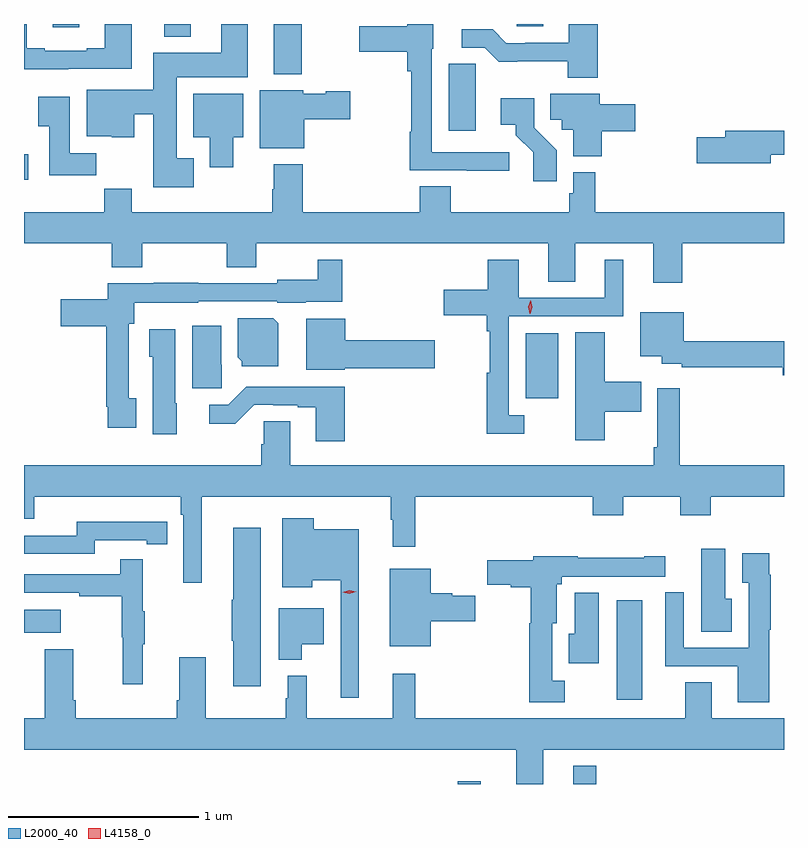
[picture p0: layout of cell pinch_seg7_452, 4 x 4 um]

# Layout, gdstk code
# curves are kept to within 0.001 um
import gdstk
lib = gdstk.Library(unit=1e-6, precision=1e-09)
def R(c, l, rs):  # rectangles x0, y0, x1, y1
    for r in rs: c.add(gdstk.rectangle(r[:2], r[2:], *l))
def P(c, l, *ps):  # polygons
    for p in ps: c.add(gdstk.Polygon(p, *l))
L2000_40 = (2000, 40)
L4158_0 = (4158, 0)

pinch_seg7_452 = lib.new_cell('pinch_seg7_452')
R(pinch_seg7_452, L2000_40, [(313.262,1056.379,313.384,1056.394), (313.871,1056.379,313.991,1056.475), (314.099,1056.822,314.233,1057.345), (310.979,1057.175,311.173,1057.297), (313.619,1058.408,313.792,1058.752), (310.979,1059.56,311.002,1059.694), (312.293,1060.115,312.441,1060.379), (311.717,1060.313,311.857,1060.379), (311.129,1060.362,311.269,1060.379), (313.572,1060.366,313.711,1060.379)])
P(pinch_seg7_452, L2000_40, [(314,1060.379),(313.847,1060.379),(313.847,1060.281),(313.618,1060.281),(313.618,1060.278),(313.518,1060.278),(313.445,1060.351),(313.284,1060.351),(313.284,1060.254),(313.404,1060.254),(313.477,1060.181),(313.84,1060.182),(313.84,1060.097),(314,1060.097)],
  [(313.534,1059.705),(313.125,1059.705),(313.125,1060.248),(313.132,1060.248),(313.132,1060.379),(312.996,1060.379),(312.996,1060.366),(312.744,1060.366),(312.744,1060.232),(312.996,1060.232),(312.996,1060.13),(313.017,1060.13),(313.017,1059.812),(313.009,1059.812),(313.009,1059.609),(313.309,1059.609),(313.309,1059.607),(313.534,1059.607)],
  [(311.872,1059.673),(311.782,1059.673),(311.782,1060.1),(312.157,1060.1),(312.157,1060.379),(312.017,1060.379),(312.017,1060.228),(311.66,1060.228),(311.66,1060.033),(311.309,1060.033),(311.309,1059.788),(311.442,1059.788),(311.442,1059.782),(311.56,1059.782),(311.56,1059.904),(311.66,1059.904),(311.66,1059.521),(311.872,1059.521)],
  [(311.213,1060.143),(311.545,1060.143),(311.545,1060.379),(311.405,1060.379),(311.405,1060.252),(311.309,1060.252),(311.309,1060.239),(311.089,1060.239),(311.089,1060.252),(310.993,1060.252),(310.993,1060.379),(310.979,1060.379),(310.979,1060.142),(311.213,1060.142)],
  [(313.357,1060.058),(313.356,1060.058),(313.356,1060.169),(313.214,1060.169),(313.214,1059.816),(313.357,1059.816)],
  [(312.454,1059.878),(312.697,1059.878),(312.697,1060.025),(312.567,1060.025),(312.567,1060.012),(312.45,1060.012),(312.45,1060.03),(312.221,1060.03),(312.221,1059.725),(312.454,1059.725)],
  [(312.079,1059.782),(312.133,1059.782),(312.133,1060.012),(311.87,1060.012),(311.87,1059.782),(311.957,1059.782),(311.957,1059.624),(312.079,1059.624)],
  [(314.021,1059.814),(314.197,1059.814),(314.197,1059.956),(314.008,1059.956),(314.008,1060.012),(313.75,1060.012),(313.75,1059.874),(313.809,1059.874),(313.809,1059.822),(313.871,1059.822),(313.871,1059.683),(314.021,1059.683)],
  [(311.36,1059.7),(311.221,1059.7),(311.221,1059.997),(311.054,1059.997),(311.054,1059.841),(311.111,1059.841),(311.111,1059.582),(311.36,1059.582)],
  [(313.784,1059.714),(313.665,1059.833),(313.665,1059.988),(313.488,1059.988),(313.488,1059.848),(313.568,1059.848),(313.568,1059.793),(313.659,1059.703),(313.659,1059.552),(313.784,1059.552)],
  [(314.908,1059.69),(314.979,1059.69),(314.979,1059.818),(314.669,1059.818),(314.669,1059.782),(314.52,1059.782),(314.52,1059.647),(314.908,1059.647)],
  [(314.444,1059.224),(314.979,1059.224),(314.979,1059.388),(313.985,1059.388),(313.985,1059.598),(313.869,1059.598),(313.869,1059.489),(313.849,1059.489),(313.849,1059.388),(313.226,1059.388),(313.226,1059.524),(313.061,1059.524),(313.061,1059.388),(312.446,1059.388),(312.446,1059.64),(312.293,1059.64),(312.293,1059.509),(312.286,1059.509),(312.286,1059.388),(311.545,1059.388),(311.545,1059.512),(311.401,1059.512),(311.401,1059.388),(310.979,1059.388),(310.979,1059.224),(311.441,1059.224),(311.441,1059.1),(311.601,1059.1),(311.601,1059.224),(312.046,1059.224),(312.046,1059.1),(312.201,1059.1),(312.201,1059.224),(313.739,1059.224),(313.739,1059.022),(313.879,1059.022),(313.879,1059.224),(314.291,1059.224),(314.291,1059.018),(314.444,1059.018)],
  [(311.569,1058.409),(311.529,1058.409),(311.529,1058.801),(311.56,1058.801),(311.56,1058.912),(311.895,1058.912),(311.895,1058.919),(312.312,1058.919),(312.312,1058.912),(312.462,1058.912),(312.462,1058.918),(312.653,1058.918),(312.653,1059.139),(312.525,1059.139),(312.525,1059.034),(312.312,1059.034),(312.312,1059.015),(311.895,1059.015),(311.895,1059.017),(311.663,1059.017),(311.663,1059.015),(311.42,1059.015),(311.42,1058.931),(311.172,1058.931),(311.172,1058.789),(311.413,1058.789),(311.413,1058.365),(311.421,1058.365),(311.421,1058.253),(311.569,1058.253)],
  [(313.612,1058.319),(313.53,1058.319),(313.53,1058.841),(314.134,1058.841),(314.134,1059.139),(314.036,1059.139),(314.036,1058.937),(313.582,1058.937),(313.582,1059.139),(313.421,1059.139),(313.421,1058.98),(313.188,1058.98),(313.188,1058.846),(313.414,1058.846),(313.414,1058.762),(313.429,1058.762),(313.429,1058.544),(313.414,1058.544),(313.414,1058.222),(313.612,1058.222)],
  [(314.979,1058.708),(314.452,1058.708),(314.452,1058.863),(314.222,1058.863),(314.222,1058.63),(314.336,1058.63),(314.336,1058.591),(314.44,1058.591),(314.44,1058.572),(314.972,1058.572),(314.972,1058.53),(314.979,1058.53)],
  [(312.316,1058.804),(312.29,1058.83),(312.104,1058.83),(312.104,1058.626),(312.126,1058.604),(312.126,1058.579),(312.316,1058.579)],
  [(312.666,1058.567),(313.141,1058.567),(313.141,1058.714),(312.67,1058.714),(312.67,1058.828),(312.464,1058.828),(312.464,1058.558),(312.666,1058.558)],
  [(312.02,1058.586),(312.016,1058.586),(312.016,1058.791),(311.864,1058.791),(311.864,1058.463),(312.02,1058.463)],
  [(311.782,1058.382),(311.776,1058.382),(311.776,1058.773),(311.639,1058.773),(311.639,1058.628),(311.657,1058.628),(311.657,1058.22),(311.782,1058.22)],
  [(314.035,1058.339),(314.228,1058.339),(314.228,1058.497),(314.035,1058.497),(314.035,1058.756),(313.88,1058.756),(313.88,1058.187),(314.035,1058.187)],
  [(312.668,1058.47),(312.148,1058.47),(312.054,1058.376),(311.955,1058.376),(311.955,1058.274),(312.09,1058.274),(312.192,1058.376),(312.292,1058.376),(312.292,1058.373),(312.419,1058.373),(312.419,1058.361),(312.515,1058.361),(312.515,1058.184),(312.668,1058.184)],
  [(311.914,1057.892),(312.909,1057.892),(312.909,1057.769),(312.92,1057.769),(312.92,1057.629),(313.037,1057.629),(313.037,1057.892),(313.973,1057.892),(313.973,1057.793),(314.133,1057.793),(314.133,1057.892),(314.434,1057.892),(314.434,1057.793),(314.594,1057.793),(314.594,1057.892),(314.979,1057.892),(314.979,1058.056),(314.429,1058.056),(314.429,1058.461),(314.313,1058.461),(314.313,1058.152),(314.293,1058.152),(314.293,1058.056),(312.379,1058.056),(312.379,1058.288),(312.24,1058.288),(312.24,1058.166),(312.227,1058.166),(312.227,1058.056),(310.979,1058.056),(310.979,1057.775),(311.032,1057.775),(311.032,1057.892),(311.804,1057.892),(311.804,1057.796),(311.817,1057.796),(311.817,1057.437),(311.914,1057.437)],
  [(312.742,1057.72),(312.504,1057.72),(312.504,1057.777),(312.338,1057.777),(312.338,1057.415),(312.496,1057.415),(312.496,1057.451),(312.645,1057.451),(312.645,1056.834),(312.742,1056.834)],
  [(311.352,1057.662),(311.624,1057.662),(311.624,1057.642),(311.732,1057.642),(311.732,1057.758),(311.624,1057.758),(311.624,1057.759),(311.256,1057.759),(311.256,1057.686),(310.979,1057.686),(310.979,1057.59),(311.352,1057.59)],
  [(312.226,1057.729),(312.08,1057.729),(312.08,1057.349),(312.073,1057.349),(312.073,1057.132),(312.08,1057.132),(312.08,1056.894),(312.226,1056.894)],
  [(314.704,1057.354),(314.671,1057.354),(314.671,1057.618),(314.543,1057.618),(314.543,1057.18),(314.704,1057.18)],
  [(314.902,1057.192),(314.909,1057.192),(314.909,1057.481),(314.902,1057.481),(314.902,1057.594),(314.759,1057.594),(314.759,1057.438),(314.793,1057.438),(314.793,1057.095),(314.451,1057.095),(314.451,1057.389),(314.355,1057.389),(314.355,1056.999),(314.735,1056.999),(314.735,1056.81),(314.902,1056.81)],
  [(313.825,1056.922),(313.759,1056.922),(313.759,1057.224),(313.783,1057.224),(313.783,1057.431),(313.81,1057.431),(313.81,1057.47),(314.355,1057.47),(314.355,1057.579),(314.243,1057.579),(314.243,1057.569),(313.894,1057.569),(313.894,1057.579),(313.659,1057.579),(313.659,1057.557),(313.417,1057.557),(313.417,1057.427),(313.541,1057.427),(313.541,1057.415),(313.645,1057.415),(313.645,1057.224),(313.638,1057.224),(313.638,1056.809),(313.825,1056.809)],
  [(311.603,1057.115),(311.614,1057.115),(311.614,1057.289),(311.603,1057.289),(311.603,1057.561),(311.485,1057.561),(311.485,1057.482),(310.979,1057.482),(310.979,1057.386),(311.269,1057.386),(311.269,1057.366),(311.493,1057.366),(311.493,1057.152),(311.5,1057.152),(311.5,1056.903),(311.603,1056.903)],
  [(313.12,1057.235),(313.355,1057.235),(313.355,1057.369),(313.233,1057.369),(313.233,1057.382),(313.12,1057.382),(313.12,1057.513),(312.905,1057.513),(312.905,1057.103),(313.12,1057.103)],
  [(314.005,1057.385),(313.877,1057.385),(313.877,1057.17),(313.847,1057.17),(313.847,1057.014),(314.005,1057.014)],
  [(312.442,1057.115),(312.556,1057.115),(312.556,1057.303),(312.32,1057.303),(312.32,1057.034),(312.442,1057.034)],
  [(313.711,1056.56),(314.979,1056.56),(314.979,1056.724),(314.599,1056.724),(314.599,1056.914),(314.459,1056.914),(314.459,1056.724),(313.037,1056.724),(313.037,1056.958),(312.92,1056.958),(312.92,1056.724),(312.467,1056.724),(312.467,1056.949),(312.368,1056.949),(312.368,1056.831),(312.357,1056.831),(312.357,1056.724),(311.935,1056.724),(311.935,1057.045),(311.795,1057.045),(311.795,1056.82),(311.783,1056.82),(311.783,1056.724),(311.252,1056.724),(311.252,1056.82),(311.239,1056.82),(311.239,1057.087),(311.087,1057.087),(311.087,1056.724),(310.979,1056.724),(310.979,1056.56),(313.571,1056.56),(313.571,1056.379),(313.711,1056.379)])
P(pinch_seg7_452, L4158_0, [(313.642,1058.853),(313.642,1058.853),(313.634,1058.89),(313.646,1058.925),(313.646,1058.925),(313.646,1058.925),(313.654,1058.889),(313.643,1058.853)],
  [(312.691,1057.38),(312.656,1057.388),(312.655,1057.388),(312.656,1057.389),(312.691,1057.4),(312.727,1057.391),(312.727,1057.391),(312.727,1057.391)])

lib.write_gds('pinch_seg7_452.gds')
